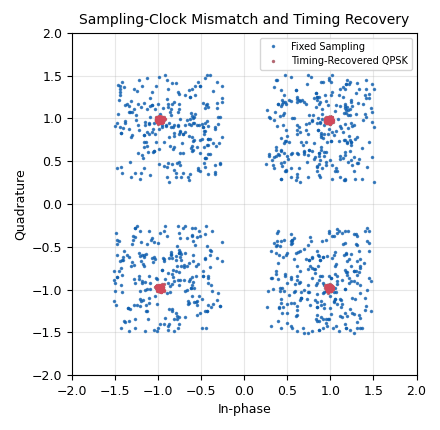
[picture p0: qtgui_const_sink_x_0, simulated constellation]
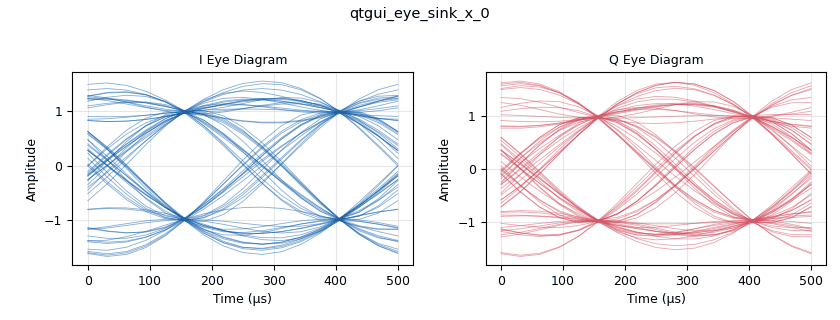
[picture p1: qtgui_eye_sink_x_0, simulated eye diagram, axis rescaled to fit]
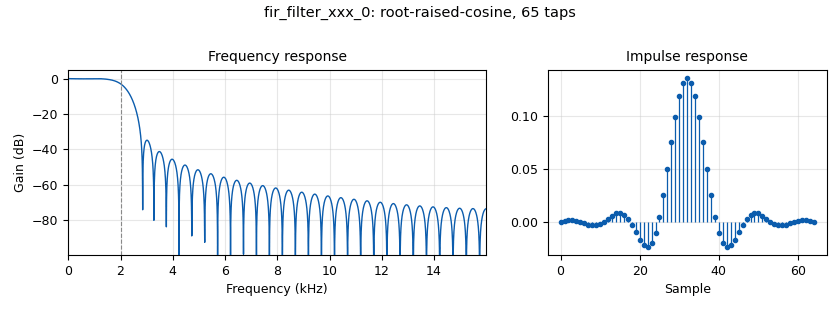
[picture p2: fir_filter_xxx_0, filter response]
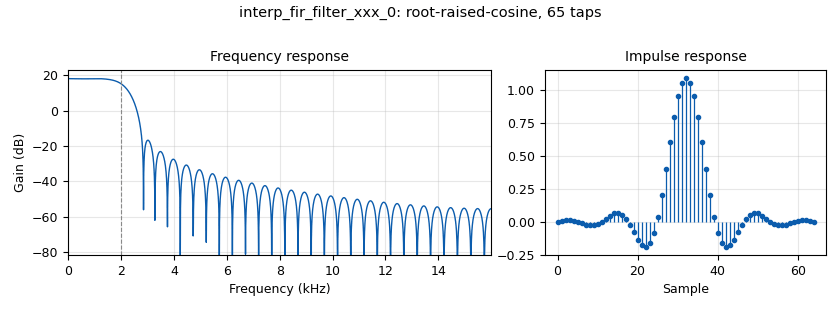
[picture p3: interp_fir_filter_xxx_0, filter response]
options:
  parameters:
    generate_options: qt_gui
    id: exp4
    output_language: python
    title: Sampling-Clock Mismatch and Timing Tracking
  states: {}

blocks:
- name: alpha
  id: variable
  parameters:
    value: '0.35'
  states: {}
- name: clock_epsilon
  id: variable_qtgui_range
  parameters:
    label: Clock Rate Ratio (epsilon)
    start: '1'
    step: '0.001'
    stop: '1.005'
    value: '1'
  states: {}
- name: ntaps
  id: variable
  parameters:
    value: span * sps + 1
  states: {}
- name: samp_rate
  id: variable
  parameters:
    value: '32000'
  states: {}
- name: span
  id: variable
  parameters:
    value: '8'
  states: {}
- name: sps
  id: variable
  parameters:
    value: int(samp_rate / symbol_rate)
  states: {}
- name: symbol_rate
  id: variable
  parameters:
    value: '4000'
  states: {}
- name: analog_random_source_x_0
  id: analog_random_source_x
  parameters:
    max: '2'
    min: '0'
    num_samps: '1000'
    repeat: 'True'
    type: byte
  states: {}
- name: analog_random_source_x_0_0
  id: analog_random_source_x
  parameters:
    max: '2'
    min: '0'
    num_samps: '1000'
    repeat: 'True'
    type: byte
  states: {}
- name: blocks_float_to_complex_0
  id: blocks_float_to_complex
  parameters: {}
  states: {}
- name: blocks_keep_one_in_n_0
  id: blocks_keep_one_in_n
  parameters:
    n: sps
    type: complex
  states: {}
- name: blocks_throttle2_0
  id: blocks_throttle2
  parameters:
    samples_per_second: samp_rate
    type: complex
  states: {}
- name: channels_channel_model_0
  id: channels_channel_model
  parameters:
    epsilon: clock_epsilon
    freq_offset: '0.0'
    noise_voltage: '0.0'
    seed: '0'
    taps: '[1.0 + 0.0j]'
  states: {}
- name: digital_chunks_to_symbols_xx_0
  id: digital_chunks_to_symbols_xx
  parameters:
    dimension: '1'
    in_type: byte
    out_type: float
    symbol_table: '[-1,1]'
  states: {}
- name: digital_chunks_to_symbols_xx_0_0
  id: digital_chunks_to_symbols_xx
  parameters:
    dimension: '1'
    in_type: byte
    out_type: float
    symbol_table: '[-1,1]'
  states: {}
- name: digital_symbol_sync_xx_0
  id: digital_symbol_sync_xx
  parameters:
    damping: '1.0'
    loop_bw: '0.045'
    max_dev: '1.5'
    osps: '1'
    resamp_type: digital.IR_MMSE_8TAP
    sps: sps
    ted_gain: '1.0'
    ted_type: digital.TED_GARDNER
    type: cc
  states: {}
- name: fir_filter_xxx_0
  id: fir_filter_xxx
  parameters:
    decim: '1'
    taps: firdes.root_raised_cosine(1, samp_rate, symbol_rate, alpha, ntaps)
    type: ccf
  states: {}
- name: import_0
  id: import
  parameters:
    imports: import math
  states: {}
- name: interp_fir_filter_xxx_0
  id: interp_fir_filter_xxx
  parameters:
    interp: sps
    taps: firdes.root_raised_cosine(sps, samp_rate, symbol_rate, alpha, ntaps)
    type: ccf
  states: {}
- name: qtgui_const_sink_x_0
  id: qtgui_const_sink_x
  parameters:
    grid: 'True'
    label1: Fixed Sampling
    label2: Timing-Recovered QPSK
    name: Sampling-Clock Mismatch and Timing Recovery
    nconnections: '2'
    size: '1024'
    type: complex
  states: {}
- name: qtgui_eye_sink_x_0
  id: qtgui_eye_sink_x
  parameters:
    label1: I Eye Diagram
    label2: Q Eye Diagram
    samp_per_symbol: sps
    size: '1024'
    srate: samp_rate
    type: complex
  states: {}

connections:
- [analog_random_source_x_0, '0', digital_chunks_to_symbols_xx_0, '0']
- [analog_random_source_x_0_0, '0', digital_chunks_to_symbols_xx_0_0, '0']
- [blocks_float_to_complex_0, '0', interp_fir_filter_xxx_0, '0']
- [blocks_keep_one_in_n_0, '0', qtgui_const_sink_x_0, '0']
- [blocks_throttle2_0, '0', channels_channel_model_0, '0']
- [channels_channel_model_0, '0', fir_filter_xxx_0, '0']
- [digital_chunks_to_symbols_xx_0, '0', blocks_float_to_complex_0, '0']
- [digital_chunks_to_symbols_xx_0_0, '0', blocks_float_to_complex_0, '1']
- [digital_symbol_sync_xx_0, '0', qtgui_const_sink_x_0, '1']
- [fir_filter_xxx_0, '0', blocks_keep_one_in_n_0, '0']
- [fir_filter_xxx_0, '0', digital_symbol_sync_xx_0, '0']
- [fir_filter_xxx_0, '0', qtgui_eye_sink_x_0, '0']
- [interp_fir_filter_xxx_0, '0', blocks_throttle2_0, '0']

metadata:
  file_format: 1
  grc_version: 3.10.12.0
